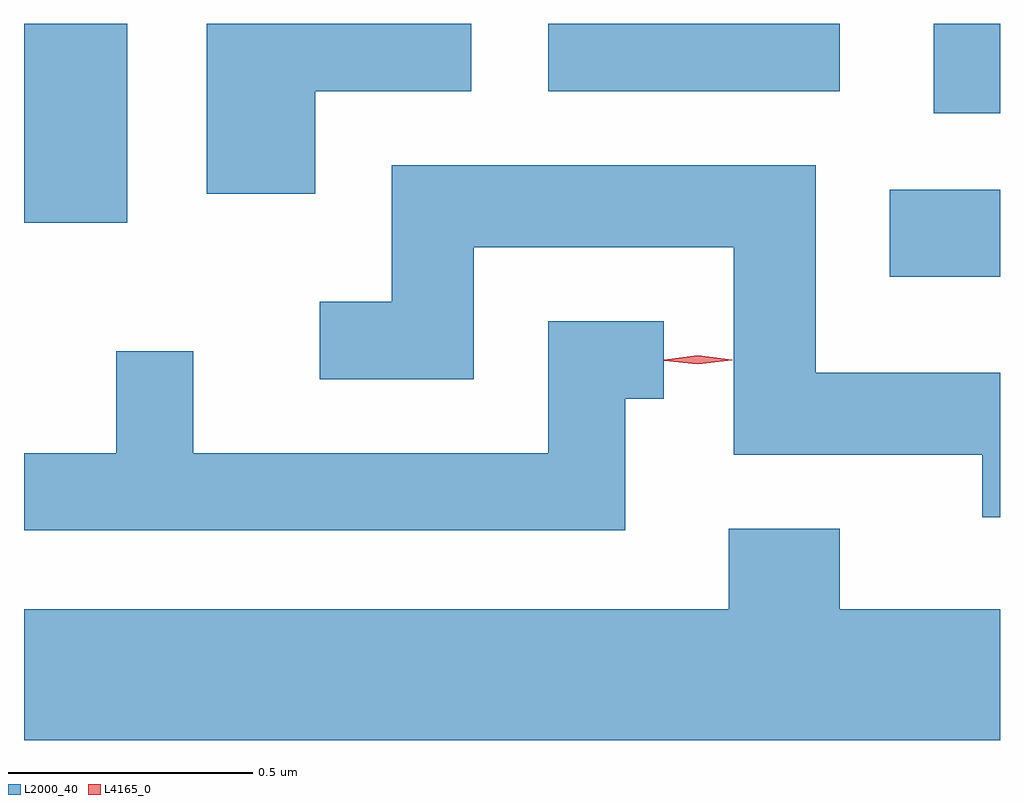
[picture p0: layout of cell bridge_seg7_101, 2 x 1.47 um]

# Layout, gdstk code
import gdstk
lib = gdstk.Library(unit=1e-6, precision=1e-09)
def R(c, l, rs):  # rectangles x0, y0, x1, y1
    for r in rs: c.add(gdstk.rectangle(r[:2], r[2:], *l))
def P(c, l, *ps):  # polygons
    for p in ps: c.add(gdstk.Polygon(p, *l))
L2000_40 = (2000, 40)
L4165_0 = (4165, 0)

bridge_seg7_101 = lib.new_cell('bridge_seg7_101')
R(bridge_seg7_101, L2000_40, [(1603.511,1750.786,1603.737,1750.964), (1601.737,1750.896,1601.949,1751.304), (1603.601,1751.121,1603.737,1751.304), (1602.811,1751.166,1603.409,1751.304)])
P(bridge_seg7_101, L2000_40, [(1602.334,1751.166),(1602.654,1751.166),(1602.654,1751.304),(1602.111,1751.304),(1602.111,1750.956),(1602.334,1750.956)],
  [(1603.737,1750.589),(1603.359,1750.589),(1603.359,1751.014),(1602.491,1751.014),(1602.491,1750.734),(1602.343,1750.734),(1602.343,1750.576),(1602.659,1750.576),(1602.659,1750.846),(1603.191,1750.846),(1603.191,1750.421),(1603.701,1750.421),(1603.701,1750.293),(1603.737,1750.293)],
  [(1602.969,1750.536),(1603.048,1750.536),(1603.048,1750.694),(1602.811,1750.694),(1602.811,1750.424),(1602.084,1750.424),(1602.084,1750.633),(1601.926,1750.633),(1601.926,1750.424),(1601.737,1750.424),(1601.737,1750.266),(1602.969,1750.266)],
  [(1603.737,1750.104),(1603.409,1750.104),(1603.409,1750.269),(1603.181,1750.269),(1603.181,1750.104),(1601.737,1750.104),(1601.737,1749.836),(1603.737,1749.836)])
P(bridge_seg7_101, L4165_0, [(1603.118,1750.606),(1603.049,1750.614),(1603.049,1750.615),(1603.049,1750.616),(1603.118,1750.625),(1603.188,1750.616),(1603.188,1750.616),(1603.188,1750.615)])

lib.write_gds('bridge_seg7_101.gds')
